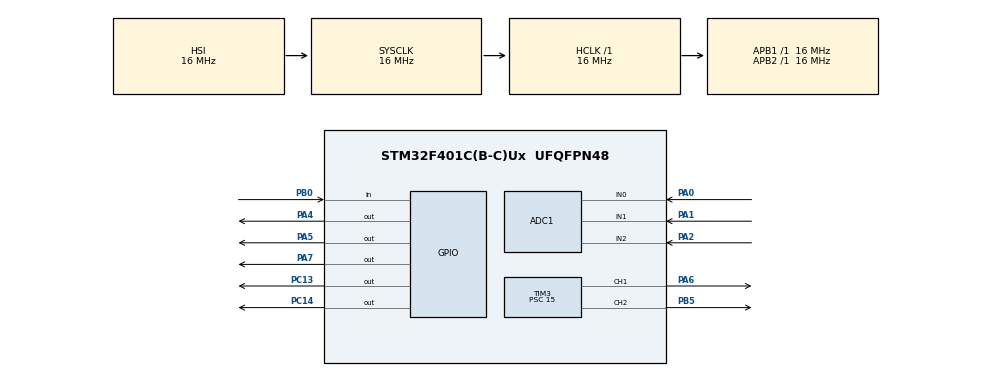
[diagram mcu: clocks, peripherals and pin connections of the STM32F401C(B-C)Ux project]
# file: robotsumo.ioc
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ADC1.Channel-2\#ChannelRegularConversion=ADC_CHANNEL_0
ADC1.ClockPrescaler=ADC_CLOCK_SYNC_PCLK_DIV4
ADC1.NbrOfConversionFlag=1
ADC1.Rank-2\#ChannelRegularConversion=1
ADC1.SamplingTime-2\#ChannelRegularConversion=ADC_SAMPLETIME_480CYCLES
ADC1.master=1
Mcu.Family=STM32F4
Mcu.Name=STM32F401C(B-C)Ux
Mcu.Package=UFQFPN48
NVIC.PriorityGroup=NVIC_PRIORITYGROUP_4
PA0-WKUP.Signal=ADCx_IN0
PA1.Signal=ADCx_IN1
PA2.Signal=ADCx_IN2
PA4.GPIO_PuPd=GPIO_PULLDOWN
PA4.Signal=GPIO_Output
PA5.GPIO_PuPd=GPIO_PULLDOWN
PA5.Signal=GPIO_Output
PA6.Signal=S_TIM3_CH1
PA7.Signal=GPIO_Output
PB0.GPIO_PuPd=GPIO_PULLDOWN
PB0.Signal=GPIO_Input
PB5.Signal=S_TIM3_CH2
PC13-ANTI_TAMP.Signal=GPIO_Output
PC14-OSC32_IN.Signal=GPIO_Output
ProjectManager.HeapSize=0x200
ProjectManager.StackSize=0x400
ProjectManager.TargetToolchain=STM32CubeIDE
RCC.AHBFreq_Value=16000000
RCC.APB1Freq_Value=16000000
RCC.APB2Freq_Value=16000000
RCC.CortexFreq_Value=16000000
RCC.HSE_VALUE=25000000
RCC.HSI_VALUE=16000000
RCC.LSE_VALUE=32768
RCC.SYSCLKFreq_VALUE=16000000
RCC.VCOOutputFreq_Value=192000000
SH.ADCx_IN0.0=ADC1_IN0,IN0
SH.ADCx_IN1.0=ADC1_IN1,IN1
SH.ADCx_IN2.0=ADC1_IN2,IN2
SH.S_TIM3_CH1.0=TIM3_CH1,PWM Generation1 CH1
SH.S_TIM3_CH2.0=TIM3_CH2,PWM Generation2 CH2
TIM3.Channel-PWM\ Generation1\ CH1=TIM_CHANNEL_1
TIM3.Channel-PWM\ Generation2\ CH2=TIM_CHANNEL_2
TIM3.Period=999
TIM3.Prescaler=15
VP_TIM3_VS_ClockSourceINT.Mode=Internal
board=custom

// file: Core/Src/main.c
/* USER CODE BEGIN Header */
/**
  ******************************************************************************
  * @file           : main.c
  * @brief          : Main program body
  ******************************************************************************
  * @attention
  *
  * Copyright (c) 2025 STMicroelectronics.
  * All rights reserved.
  *
  * This software is licensed under terms that can be found in the LICENSE file
  * in the root directory of this software component.
  * If no LICENSE file comes with this software, it is provided AS-IS.
  *
  ******************************************************************************
  */
/* USER CODE END Header */
#include "main.h"

/* USER CODE BEGIN Includes */
#include <math.h>
#include <stdio.h>
#include <stdbool.h>
#include <stdlib.h>
/* USER CODE END Includes */

/* USER CODE BEGIN PTD */
typedef enum
{
    LINE_NONE = 0,
    LINE_LEFT = 1,
    LINE_RIGHT = 2,
    LINE_BOTH = 3
} lineState_E;
/* USER CODE END PTD */

ADC_HandleTypeDef hadc1;

TIM_HandleTypeDef htim3;

/* USER CODE BEGIN PV */
volatile uint32_t gDebug_raw_adc = 0;
float gDistance = 0.0f;
/* USER CODE END PV */

void SystemClock_Config(void);
static void MX_GPIO_Init(void);
static void MX_ADC1_Init(void);
static void MX_TIM3_Init(void);
/* USER CODE BEGIN PFP */

float sharpGetDistance(void);
lineState_E qtrReadSensors(void);
uint32_t adcReadChannel(uint32_t channel);
void setMotor(TIM_HandleTypeDef* pTimer, uint32_t channel, GPIO_TypeDef* pPort1, uint16_t pin1, GPIO_TypeDef* pPort2, uint16_t pin2, int speed);
void setMotors(int speed_l, int speed_r);

/* USER CODE END PFP */

/* USER CODE BEGIN 0 */
#define QTR_THRESHOLD 1500
#define ATTACK_DISTANCE 40.0f
/* USER CODE END 0 */

int main(void)
{

  /* MCU Configuration--------------------------------------------------------*/

  /* Reset of all peripherals, Initializes the Flash interface and the Systick. */
  HAL_Init();

  /* Configure the system clock */
  SystemClock_Config();

  /* Initialize all configured peripherals */
  MX_GPIO_Init();
  MX_ADC1_Init();
  MX_TIM3_Init();
  /* USER CODE BEGIN 2 */
  HAL_TIM_PWM_Start(&htim3, TIM_CHANNEL_1);
  HAL_TIM_PWM_Start(&htim3, TIM_CHANNEL_2);
  HAL_GPIO_WritePin(GPIOA, GPIO_PIN_7, GPIO_PIN_SET);
  HAL_ADC_Start(&hadc1);

  while (HAL_GPIO_ReadPin(GPIOB, GPIO_PIN_0) == GPIO_PIN_RESET)
      HAL_Delay(50);

  HAL_Delay(5000);
  /* USER CODE END 2 */

  /* Infinite loop */
  /* USER CODE BEGIN WHILE */
  while (1)
  {
      gDistance = sharpGetDistance();
      lineState_E dohyo_edge = qtrReadSensors();

      if (dohyo_edge != LINE_NONE)
      {
          if (dohyo_edge == LINE_BOTH)
          {
              setMotors(-1000, -1000);
              HAL_Delay(300);
              setMotors(-800, 800);
              HAL_Delay(400);
          }
          else if (dohyo_edge == LINE_LEFT)
          {
              setMotors(-1000, -1000);
              HAL_Delay(250);
              setMotors(800, -800);
              HAL_Delay(300);
          }
          else if (dohyo_edge == LINE_RIGHT)
          {
              setMotors(-1000, -1000);
              HAL_Delay(250);
              setMotors(-800, 800);
              HAL_Delay(300);
          }
      }
      else
      {
          if (gDistance <= ATTACK_DISTANCE)
              setMotors(1000, 1000);
          else
              setMotors(500, -500);
      }

      HAL_Delay(5);
  /* USER CODE END WHILE */

  }
}

void SystemClock_Config(void)
{
  RCC_OscInitTypeDef RCC_OscInitStruct = {0};
  RCC_ClkInitTypeDef RCC_ClkInitStruct = {0};

  /** Configure the main internal regulator output voltage
  */
  __HAL_RCC_PWR_CLK_ENABLE();
  __HAL_PWR_VOLTAGESCALING_CONFIG(PWR_REGULATOR_VOLTAGE_SCALE2);

  /** Initializes the RCC Oscillators according to the specified parameters
  * in the RCC_OscInitTypeDef structure.
  */
  RCC_OscInitStruct.OscillatorType = RCC_OSCILLATORTYPE_HSI;
  RCC_OscInitStruct.HSIState = RCC_HSI_ON;
  RCC_OscInitStruct.HSICalibrationValue = RCC_HSICALIBRATION_DEFAULT;
  RCC_OscInitStruct.PLL.PLLState = RCC_PLL_NONE;
  if (HAL_RCC_OscConfig(&RCC_OscInitStruct) != HAL_OK)
    Error_Handler();

  /** Initializes the CPU, AHB and APB buses clocks
  */
  RCC_ClkInitStruct.ClockType = RCC_CLOCKTYPE_HCLK|RCC_CLOCKTYPE_SYSCLK
                              |RCC_CLOCKTYPE_PCLK1|RCC_CLOCKTYPE_PCLK2;
  RCC_ClkInitStruct.SYSCLKSource = RCC_SYSCLKSOURCE_HSI;
  RCC_ClkInitStruct.AHBCLKDivider = RCC_SYSCLK_DIV1;
  RCC_ClkInitStruct.APB1CLKDivider = RCC_HCLK_DIV1;
  RCC_ClkInitStruct.APB2CLKDivider = RCC_HCLK_DIV1;

  if (HAL_RCC_ClockConfig(&RCC_ClkInitStruct, FLASH_LATENCY_0) != HAL_OK)
    Error_Handler();
}

static void MX_ADC1_Init(void)
{

  ADC_ChannelConfTypeDef sConfig = {0};

  /** Configure the global features of the ADC (Clock, Resolution, Data Alignment and number of conversion)
  */
  hadc1.Instance = ADC1;
  hadc1.Init.ClockPrescaler = ADC_CLOCK_SYNC_PCLK_DIV4;
  hadc1.Init.Resolution = ADC_RESOLUTION_12B;
  hadc1.Init.ScanConvMode = DISABLE;
  hadc1.Init.ContinuousConvMode = DISABLE;
  hadc1.Init.DiscontinuousConvMode = DISABLE;
  hadc1.Init.ExternalTrigConvEdge = ADC_EXTERNALTRIGCONVEDGE_NONE;
  hadc1.Init.ExternalTrigConv = ADC_SOFTWARE_START;
  hadc1.Init.DataAlign = ADC_DATAALIGN_RIGHT;
  hadc1.Init.NbrOfConversion = 1;
  hadc1.Init.DMAContinuousRequests = DISABLE;
  hadc1.Init.EOCSelection = ADC_EOC_SINGLE_CONV;
  if (HAL_ADC_Init(&hadc1) != HAL_OK)
    Error_Handler();

  /** Configure for the selected ADC regular channel its corresponding rank in the sequencer and its sample time.
  */
  sConfig.Channel = ADC_CHANNEL_0;
  sConfig.Rank = 1;
  sConfig.SamplingTime = ADC_SAMPLETIME_480CYCLES;
  if (HAL_ADC_ConfigChannel(&hadc1, &sConfig) != HAL_OK)
    Error_Handler();

}

static void MX_TIM3_Init(void)
{

  TIM_ClockConfigTypeDef sClockSourceConfig = {0};
  TIM_MasterConfigTypeDef sMasterConfig = {0};
  TIM_OC_InitTypeDef sConfigOC = {0};

  htim3.Instance = TIM3;
  htim3.Init.Prescaler = 15;
  htim3.Init.CounterMode = TIM_COUNTERMODE_UP;
  htim3.Init.Period = 999;
  htim3.Init.ClockDivision = TIM_CLOCKDIVISION_DIV1;
  htim3.Init.AutoReloadPreload = TIM_AUTORELOAD_PRELOAD_DISABLE;
  if (HAL_TIM_Base_Init(&htim3) != HAL_OK)
    Error_Handler();

  sClockSourceConfig.ClockSource = TIM_CLOCKSOURCE_INTERNAL;
  if (HAL_TIM_ConfigClockSource(&htim3, &sClockSourceConfig) != HAL_OK)
    Error_Handler();

  if (HAL_TIM_PWM_Init(&htim3) != HAL_OK)
    Error_Handler();

  sMasterConfig.MasterOutputTrigger = TIM_TRGO_RESET;
  sMasterConfig.MasterSlaveMode = TIM_MASTERSLAVEMODE_DISABLE;
  if (HAL_TIMEx_MasterConfigSynchronization(&htim3, &sMasterConfig) != HAL_OK)
    Error_Handler();

  sConfigOC.OCMode = TIM_OCMODE_PWM1;
  sConfigOC.Pulse = 0;
  sConfigOC.OCPolarity = TIM_OCPOLARITY_HIGH;
  sConfigOC.OCFastMode = TIM_OCFAST_DISABLE;
  if (HAL_TIM_PWM_ConfigChannel(&htim3, &sConfigOC, TIM_CHANNEL_1) != HAL_OK)
    Error_Handler();

  if (HAL_TIM_PWM_ConfigChannel(&htim3, &sConfigOC, TIM_CHANNEL_2) != HAL_OK)
    Error_Handler();
  HAL_TIM_MspPostInit(&htim3);

}

static void MX_GPIO_Init(void)
{
  GPIO_InitTypeDef GPIO_InitStruct = {0};

  /* GPIO Ports Clock Enable */
  __HAL_RCC_GPIOC_CLK_ENABLE();
  __HAL_RCC_GPIOA_CLK_ENABLE();
  __HAL_RCC_GPIOB_CLK_ENABLE();

  /*Configure GPIO pin Output Level */
  HAL_GPIO_WritePin(GPIOC, GPIO_PIN_13|GPIO_PIN_14, GPIO_PIN_RESET);

  /*Configure GPIO pin Output Level */
  HAL_GPIO_WritePin(GPIOA, GPIO_PIN_4|GPIO_PIN_5|GPIO_PIN_7, GPIO_PIN_RESET);

  /*Configure GPIO pins : PC13 PC14 */
  GPIO_InitStruct.Pin = GPIO_PIN_13|GPIO_PIN_14;
  GPIO_InitStruct.Mode = GPIO_MODE_OUTPUT_PP;
  GPIO_InitStruct.Pull = GPIO_NOPULL;
  GPIO_InitStruct.Speed = GPIO_SPEED_FREQ_LOW;
  HAL_GPIO_Init(GPIOC, &GPIO_InitStruct);

  /*Configure GPIO pins : PA4 PA5 */
  GPIO_InitStruct.Pin = GPIO_PIN_4|GPIO_PIN_5;
  GPIO_InitStruct.Mode = GPIO_MODE_OUTPUT_PP;
  GPIO_InitStruct.Pull = GPIO_PULLDOWN;
  GPIO_InitStruct.Speed = GPIO_SPEED_FREQ_LOW;
  HAL_GPIO_Init(GPIOA, &GPIO_InitStruct);

  /*Configure GPIO pin : PA7 */
  GPIO_InitStruct.Pin = GPIO_PIN_7;
  GPIO_InitStruct.Mode = GPIO_MODE_OUTPUT_PP;
  GPIO_InitStruct.Pull = GPIO_NOPULL;
  GPIO_InitStruct.Speed = GPIO_SPEED_FREQ_LOW;
  HAL_GPIO_Init(GPIOA, &GPIO_InitStruct);

  /*Configure GPIO pin : PB0 */
  GPIO_InitStruct.Pin = GPIO_PIN_0;
  GPIO_InitStruct.Mode = GPIO_MODE_INPUT;
  GPIO_InitStruct.Pull = GPIO_PULLDOWN;
  HAL_GPIO_Init(GPIOB, &GPIO_InitStruct);

}

/* USER CODE BEGIN 4 */

float sharpGetDistance(void)
{
    uint32_t sum = 0;
    uint8_t samples = 20;

    for (int i = 0; i < samples; i++)
        sum += adcReadChannel(ADC_CHANNEL_0);

    uint32_t raw = sum / samples;
    gDebug_raw_adc = raw;

    if (raw > 3600)
        return 8.0f;

    if (raw < 960)
        return 80.0f;

    float dist = 27500.0f / (float)(raw - 600);

    if (dist > 80.0f)
        return 80.0f;

    if (dist < 8.0f)
        return 8.0f;

    return dist;
}

lineState_E qtrReadSensors(void)
{
    uint32_t left_val = adcReadChannel(ADC_CHANNEL_1);
    uint32_t right_val = adcReadChannel(ADC_CHANNEL_2);

    bool isLeft_white = (left_val < QTR_THRESHOLD);
    bool isRight_white = (right_val < QTR_THRESHOLD);

    if (isLeft_white && isRight_white)
        return LINE_BOTH;

    if (isLeft_white)
        return LINE_LEFT;

    if (isRight_white)
        return LINE_RIGHT;

    return LINE_NONE;
}

uint32_t adcReadChannel(uint32_t channel)
{
    ADC_ChannelConfTypeDef sConfig = {0};
    sConfig.Channel = channel;
    sConfig.Rank = 1;
    sConfig.SamplingTime = ADC_SAMPLETIME_84CYCLES;

    HAL_ADC_ConfigChannel(&hadc1, &sConfig);

    HAL_ADC_Start(&hadc1);
    HAL_ADC_PollForConversion(&hadc1, 5);
    uint32_t val = HAL_ADC_GetValue(&hadc1);
    HAL_ADC_Stop(&hadc1);

    return val;
}

void setMotor(TIM_HandleTypeDef* pTimer, uint32_t channel, GPIO_TypeDef* pPort1, uint16_t pin1, GPIO_TypeDef* pPort2, uint16_t pin2, int speed)
{
    int speed_pwm = abs(speed);

    if (speed_pwm > 1000)
        speed_pwm = 1000;

    // Dead zone
    if (speed_pwm < 50 && speed_pwm != 0)
        speed_pwm = 0;

    // Forward
    if (speed >= 0)
    {
        HAL_GPIO_WritePin(pPort1, pin1, GPIO_PIN_SET);
        HAL_GPIO_WritePin(pPort2, pin2, GPIO_PIN_RESET);
    }
    // Backward
    else
    {
        HAL_GPIO_WritePin(pPort1, pin1, GPIO_PIN_RESET);
        HAL_GPIO_WritePin(pPort2, pin2, GPIO_PIN_SET);
    }

    __HAL_TIM_SET_COMPARE(pTimer, channel, speed_pwm);
}

void setMotors(int speed_l, int speed_r)
{
    setMotor(&htim3, TIM_CHANNEL_1, GPIOA, GPIO_PIN_4, GPIOA, GPIO_PIN_5, speed_l);
    setMotor(&htim3, TIM_CHANNEL_2, GPIOC, GPIO_PIN_13, GPIOC, GPIO_PIN_14, speed_r);
}

/* USER CODE END 4 */

void Error_Handler(void)
{
  /* USER CODE BEGIN Error_Handler_Debug */
  /* User can add his own implementation to report the HAL error return state */
  __disable_irq();
  while (1);
  /* USER CODE END Error_Handler_Debug */
}
